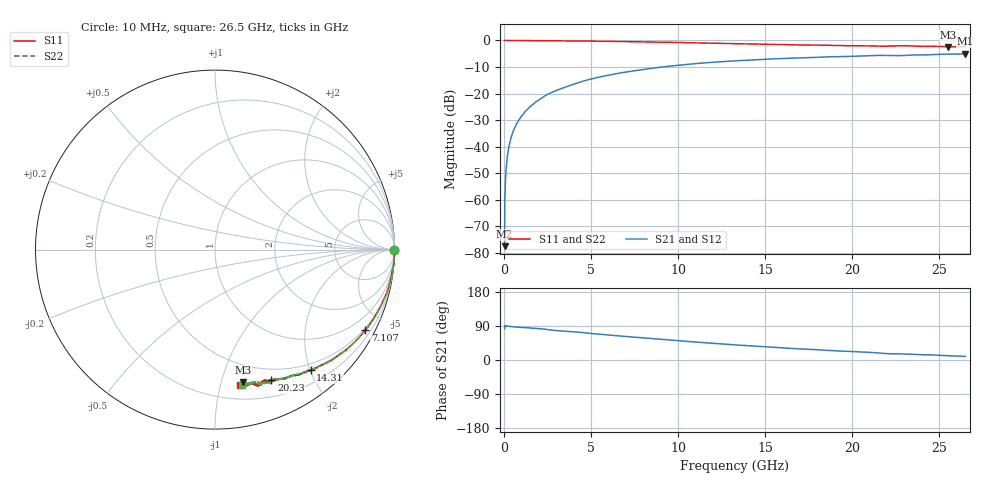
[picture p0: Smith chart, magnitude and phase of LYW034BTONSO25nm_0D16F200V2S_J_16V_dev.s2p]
!Keysight Technologies,N5222B,MY61253708,A.15.00.15
!Date: Wednesday, June 19, 2024 08:45:32
!Correction: S11(C  2-Port  )
!S21(C  2-Port  )
!S12(C  2-Port  )
!S22(C  2-Port  )
!S2P File: Measurements: S11, S21, S12, S22:
# Hz S  RI  R 50
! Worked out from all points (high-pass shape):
!   2651 points, 10 MHz to 26.5 GHz, reference 50 ohm
!   highest |S21| = -5.00 dB at 26.5 GHz (marker M1); lowest = -77.5 dB at 10 MHz (marker M2)
!   |S21| within 3 dB of the highest: 12.5 GHz to end of sweep
!   lowest |S11| = -2.4 dB at 25.5 GHz (marker M3), VSWR 7.19, Z = 17 - j58.7 ohm
!   |S11| at or under -10 dB: nowhere
!   |S22| runs from -2.3 to 0.0 dB; largest |S21 - S12| = 0.0081
!   S11 on the Smith chart (normalised r, x): 10 MHz: open; 7.107 GHz: 0.42, -3.93; 14.31 GHz: 0.40, -2.01; 20.23 GHz: 0.37, -1.46; 26.5 GHz: 0.31, -1.15
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1e7  0.9984 -0.00224  1.74e-05 0.000132  0.000339 0.000285  0.9983 -0.00115
1.499472e8  0.9998 -0.0119  7.17e-05 0.0058  8.35e-05 0.00582  0.9994 -0.0111
1.799358e8  0.9997 -0.0132  0.000114 0.00696  0.000111 0.00699  0.9995 -0.0125
2.199208e8  0.9995 -0.0167  0.000172 0.00848  0.000147 0.00852  0.9992 -0.0158
3.098868e8  0.9992 -0.0231  0.000349 0.0119  0.000303 0.012  0.999 -0.0221
4.398377e8  0.9988 -0.0325  0.000627 0.017  0.00062 0.0171  0.999 -0.0317
5.997774e8  0.9983 -0.0441  0.00108 0.0231  0.00107 0.0232  0.9986 -0.0435
7.797094e8  0.9976 -0.0569  0.00182 0.0299  0.00182 0.03  0.9973 -0.0563
1.0696e9  0.9959 -0.0794  0.0031 0.0406  0.00314 0.0409  0.9951 -0.0772
1.419468e9  0.9885 -0.105  0.00474 0.054  0.00484 0.0542  0.9915 -0.1014
2.309132e9  0.9779 -0.1641  0.0133 0.0885  0.0135 0.0888  0.9792 -0.1645
3.128823e9  0.9633 -0.2201  0.0266 0.1163  0.0267 0.1167  0.9639 -0.2186
4.428332e9  0.9293 -0.3025  0.0501 0.1602  0.0503 0.161  0.9312 -0.2994
7.107321e9  0.8372 -0.4498  0.1226 0.2266  0.1238 0.2273  0.839 -0.4482
8.846664e9  0.7659 -0.526  0.177 0.2551  0.1783 0.2558  0.768 -0.5239
1.3255e10  0.5752 -0.6522  0.3164 0.2653  0.3185 0.2652  0.5792 -0.6509
1.43146e10  0.5328 -0.672  0.3445 0.2576  0.3461 0.2579  0.5371 -0.6687
1.767333e10  0.3985 -0.7135  0.4223 0.222  0.4257 0.2205  0.4105 -0.712
2.023237e10  0.3145 -0.7278  0.4709 0.1866  0.4726 0.1853  0.3287 -0.7287
2.209166e10  0.2683 -0.7322  0.4987 0.1486  0.5 0.1465  0.2633 -0.7399
2.550038e10  0.1552 -0.7396  0.5413 0.1055  0.5427 0.1066  0.1757 -0.7468
2.65e10  0.1379 -0.7543  0.5544 0.0941  0.5531 0.0912  0.1502 -0.7553
